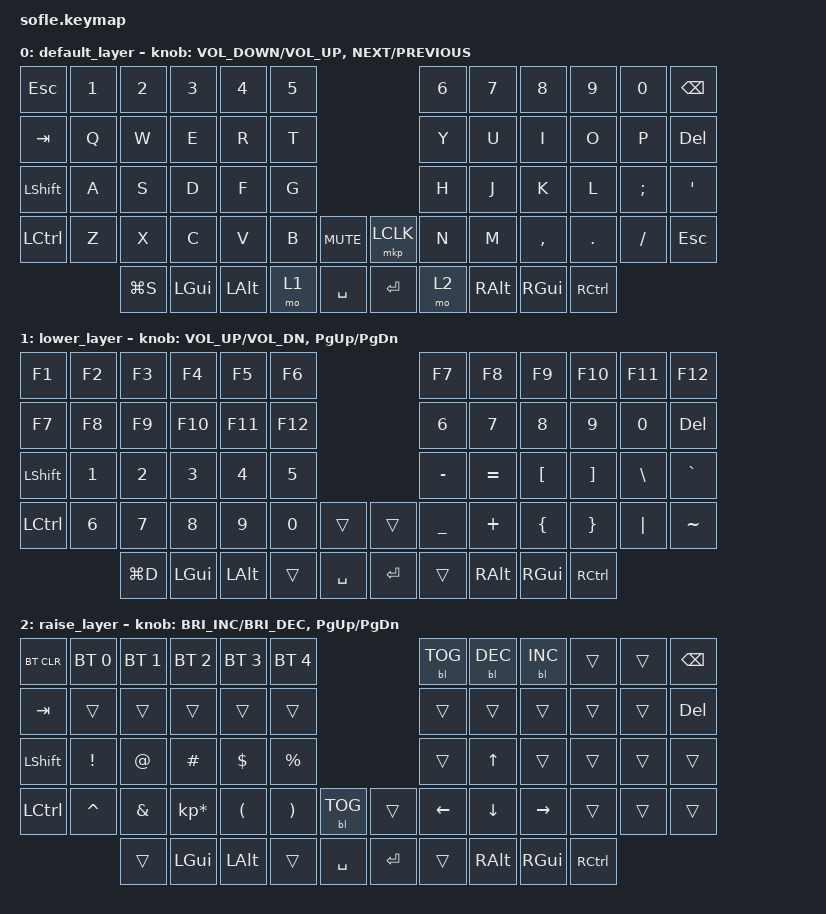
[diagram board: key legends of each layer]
/*
 * Copyright (c) 2020 The ZMK Contributors
 *
 * SPDX-License-Identifier: MIT
 */

#include <behaviors.dtsi>
#include <dt-bindings/zmk/backlight.h>
#include <dt-bindings/zmk/bt.h>
#include <dt-bindings/zmk/keys.h>
#include <dt-bindings/zmk/mouse.h>

/ {
    keymap {
        compatible = "zmk,keymap";

        default_layer {
            // ------------------------------------------------------------------------------------------------------------
            // |  ESC  |  1  |  2  |  3   |  4   |  5   |                         |  6   |  7    |  8    |  9   |   0   |  DEL  |
            // |  TAB  |  Q  |  W  |  E   |  R   |  T   |                         |  Y   |  U    |  I    |  O   |   P   | BKSPC |
            // | LSHFT |  A  |  S  |  D   |  F   |  G   |                         |  H   |  J    |  K    |  L   |   ;   |   '   |
            // | LCTRL |  Z  |  X  |  C   |  V   |  B   |  MUTE  |        | ExtPw |  N   |  M    |  ,    |  .   |   /   | SHIFT |
            //               | ALT |      | GUI  | LOWER|  ENTER |        | SPACE | RAISE| CTRL  | ALT   | GUI  |

            bindings = <
&kp ESC    &kp N1  &kp N2     &kp N3    &kp N4    &kp N5                           &kp N6  &kp N7    &kp N8     &kp N9     &kp N0    &kp BACKSPACE
&kp TAB    &kp Q   &kp W      &kp E     &kp R     &kp T                            &kp Y   &kp U     &kp I      &kp O      &kp P     &kp DEL
&kp LSHFT  &kp A   &kp S      &kp D     &kp F     &kp G                            &kp H   &kp J     &kp K      &kp L      &kp SEMI  &kp SQT
&kp LCTRL  &kp Z   &kp X      &kp C     &kp V     &kp B   &kp C_MUTE    &mkp LCLK  &kp N   &kp M     &kp COMMA  &kp DOT    &kp FSLH  &kp ESCAPE
                   &kp LG(S)  &kp LGUI  &kp LALT  &mo 1   &kp SPACE     &kp RET    &mo 2   &kp RALT  &kp RGUI   &kp RCTRL
            >;

            sensor-bindings =
                <&inc_dec_kp C_VOLUME_DOWN C_VOLUME_UP>,
                <&inc_dec_kp C_NEXT K_PREVIOUS>;
        };

        lower_layer {
            // TODO: Some binds are waiting for shifted keycode support.
            // ------------------------------------------------------------------------------------------------------------
            // |       |  F1 |  F2 |  F3  |  F4  |  F5  |                   |  F6  |  F7   |  F8   |  F9  |  F10  |  F11  |
            // | `     |   1 |   2 |   3  |   4  |   5  |                   |   6  |   7   |   8   |   9  |    0  |  F12  |
            // |       |  !  |  @  |  #   |  $   |  %   |                   |  ^   |  &    |  *    |  (   |   )   |   |   |
            // |       |  =  |  -  |  +   |  {   |  }   |        |  |       |  [   |  ]    |  ;    |  :   |   \   |       |
            //               |     |      |      |      |        |  |       |      |       |       |      |

            bindings = <
&kp F1          &kp F2        &kp F3     &kp F4        &kp F5        &kp F6                                &kp F7     &kp F8     &kp F9    &kp F10    &kp F11        &kp F12
&kp F7          &kp F8        &kp F9     &kp F10       &kp F11       &kp F12                               &kp N6     &kp N7     &kp N8    &kp N9     &kp N0         &kp DEL
&kp LEFT_SHIFT  &kp N1        &kp N2     &kp N3        &kp N4        &kp NUMBER_5                          &kp MINUS  &kp EQUAL  &kp LBKT  &kp RBKT   &kp BACKSLASH  &kp GRAVE
&kp LCTRL       &kp NUMBER_6  &kp N7     &kp N8        &kp N9        &kp N0        &trans       &trans     &kp UNDER  &kp PLUS   &kp LBRC  &kp RBRC   &kp PIPE       &kp TILDE
                              &kp LG(D)  &kp LEFT_GUI  &kp LEFT_ALT  &trans        &kp SPACE    &kp ENTER  &trans     &kp RALT   &kp RGUI  &kp RCTRL
            >;

            sensor-bindings = <&inc_dec_kp C_VOL_UP C_VOL_DN &inc_dec_kp PG_UP PG_DN>;
        };

        raise_layer {
            // ------------------------------------------------------------------------------------------------------------
            // |BTCLR| BT1  | BT2  |  BT3  |  BT4  |  BT5 |                |      |      |       |      |       |       |
            // |     | INS  | PSCR | GUI   |       |      |                | PGUP |      |       |      |       |       |
            // |     | ALT  | CTRL | SHIFT |       | CAPS |                | PGDN |  ^   |       |      |       |       |
            // |     | UNDO | CUT  | COPY  | PASTE |      |      |  |      |   <- |  v   |  ->   |      |       |       |
            //              |      |       |       |      |      |  |      |      |      |       |      |

            bindings = <
&bt BT_CLR  &bt BT_SEL 0  &bt BT_SEL 1  &bt BT_SEL 2     &bt BT_SEL 3  &bt BT_SEL 4                           &bl BL_TOG  &bl BL_DEC  &bl BL_INC  &trans     &trans  &kp BACKSPACE
&kp TAB     &trans        &trans        &trans           &trans        &trans                                 &trans      &trans      &trans      &trans     &trans  &kp DEL
&kp LSHFT   &kp EXCL      &kp AT        &kp HASH         &kp DLLR      &kp PRCNT                              &trans      &kp UP      &trans      &trans     &trans  &trans
&kp LCTRL   &kp CARET     &kp AMPS      &kp KP_MULTIPLY  &kp LPAR      &kp RPAR      &bl BL_TOG    &trans     &kp LEFT    &kp DOWN    &kp RIGHT   &trans     &trans  &trans
                          &trans        &kp LEFT_GUI     &kp LEFT_ALT  &trans        &kp SPACE     &kp ENTER  &trans      &kp RALT    &kp RGUI    &kp RCTRL
            >;

            sensor-bindings =
                <&inc_dec_kp C_BRIGHTNESS_INC C_BRIGHTNESS_DEC>,
                <&inc_dec_kp PG_UP PG_DN>;
        };
    };
};
